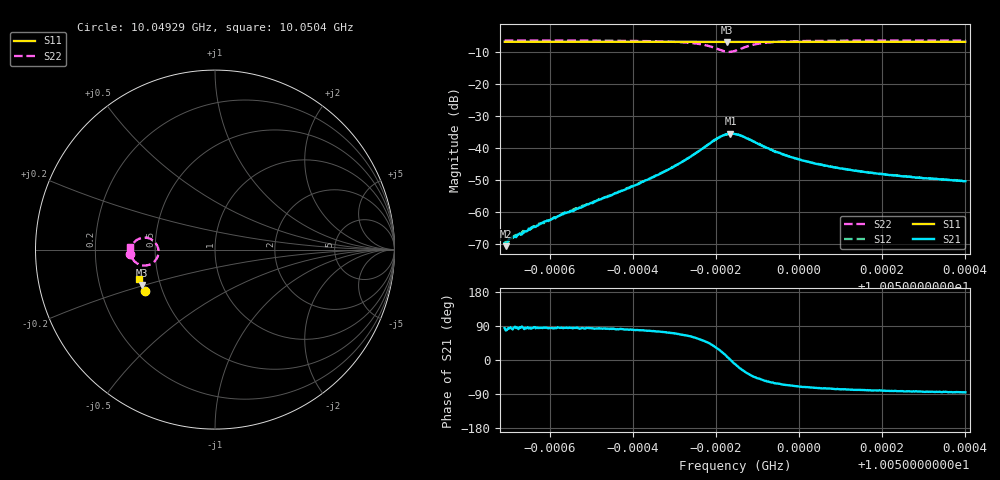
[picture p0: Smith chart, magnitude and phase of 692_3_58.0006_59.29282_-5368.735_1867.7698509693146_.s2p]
#  HZ  S  RI  R  50.00
! Rohde & Schwarz Vector Network Analyzer
! Rohde-Schwarz,ZNB20-2Port,1311601062101988,3.16
! Created: UTC 3/21/2024, 1:21:19 AM
! freq[Hz]  re:S11  im:S11  re:S21  im:S21  re:S12  im:S12  re:S22  im:S22
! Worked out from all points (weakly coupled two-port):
!   401 points, 10.04929 GHz to 10.0504 GHz, reference 50 ohm
!   highest |S21| = -35.57 dB at 10.04984 GHz (marker M1); lowest = -70.7 dB at 10.04929 GHz (marker M2)
!   lowest |S11| = -6.9 dB at 10.04983 GHz (marker M3), VSWR 2.65, Z = 19.8 - j9.85 ohm
!   |S11| at or under -10 dB: nowhere
!   |S22| runs from -10.0 to -6.5 dB; largest |S21 - S12| = 0.0012
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1.0049291e10  -0.3914 -0.2307  3.34e-05 0.000325  3.16e-05 0.000312  -0.4739 -0.0272
1.0049294e10  -0.3916 -0.2305  6.06e-05 0.000284  2.54e-05 0.000344  -0.4738 -0.027
1.0049308e10  -0.3919 -0.2298  4.76e-05 0.000388  2.7e-05 0.000378  -0.4737 -0.0256
1.0049322e10  -0.3923 -0.2289  3.17e-05 0.000437  3.92e-05 0.000425  -0.4737 -0.0243
1.0049383e10  -0.3943 -0.2254  6.75e-05 0.000668  -2.34e-06 0.000682  -0.4733 -0.018
1.004943e10  -0.3957 -0.2225  8.72e-05 0.000926  3e-05 0.000919  -0.4729 -0.0126
1.0049477e10  -0.3973 -0.2197  0.000112 0.00117  4.9e-05 0.00121  -0.4721 -0.00678
1.0049608e10  -0.401 -0.2119  0.000512 0.00259  0.000358 0.00264  -0.4664 0.0149
1.0049663e10  -0.4026 -0.2085  0.000997 0.00372  0.000793 0.00381  -0.4596 0.0286
1.0049722e10  -0.4042 -0.2049  0.0025 0.00562  0.00218 0.00578  -0.4422 0.0486
1.0049783e10  -0.4054 -0.2008  0.00802 0.00801  0.00761 0.00838  -0.3847 0.0664
1.0049808e10  -0.4055 -0.1994  0.0128 0.00666  0.0125 0.00722  -0.3407 0.0472
1.0049827e10  -0.4056 -0.1985  0.0162 0.00257  0.0158 0.00351  -0.3162 0.0046
1.0049835e10  -0.4057 -0.1984  0.0166 0.000168  0.0165 0.00114  -0.3149 -0.0186
1.0049846e10  -0.4059 -0.198  0.0161 -0.00304  0.0162 -0.00197  -0.3236 -0.0474
1.0049874e10  -0.4072 -0.197  0.0117 -0.00784  0.0123 -0.00711  -0.3721 -0.0862
1.0049913e10  -0.4087 -0.1948  0.00645 -0.00849  0.00702 -0.00811  -0.4247 -0.0819
1.0049969e10  -0.4105 -0.1915  0.00313 -0.00696  0.00355 -0.00677  -0.4546 -0.0589
1.0050032e10  -0.4124 -0.1875  0.00172 -0.00556  0.00206 -0.00547  -0.4663 -0.0391
1.0050113e10  -0.4146 -0.1825  0.00101 -0.00451  0.00124 -0.00449  -0.4716 -0.0226
1.0050218e10  -0.4171 -0.176  0.000552 -0.0037  0.000783 -0.00368  -0.4742 -0.00741
1.0050402e10  -0.4214 -0.1648  0.000252 -0.003  0.000424 -0.00299  -0.4751 0.0121
